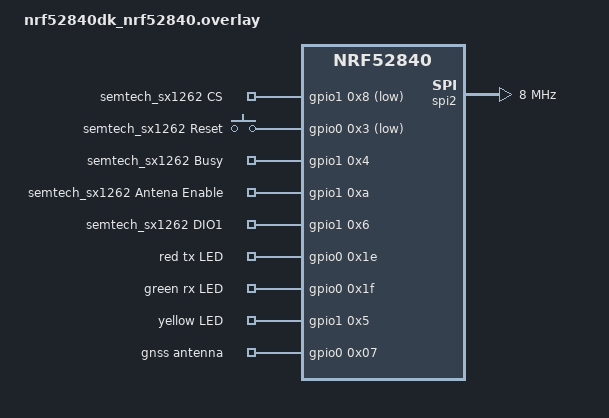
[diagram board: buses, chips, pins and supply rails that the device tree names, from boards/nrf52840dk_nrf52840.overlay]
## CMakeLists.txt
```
#
# Copyright (c) 2022 Nordic Semiconductor ASA
#
# SPDX-License-Identifier: LicenseRef-Nordic-5-Clause
#

cmake_minimum_required(VERSION 3.20.0)

include(../common/bootloader_version.cmake)

set(mcuboot_KCONFIG_ROOT $ENV{ZEPHYR_BASE}/../sidewalk/samples/template_subghz/child_image/mcuboot/Kconfig.root)
set(hci_rpmsg_KCONFIG_ROOT ${CMAKE_CURRENT_SOURCE_DIR}/child_image/hci_rpmsg/Kconfig.root)

find_package(Zephyr REQUIRED HINTS $ENV{ZEPHYR_BASE})
project(sidewalk_template_subghz)

zephyr_include_directories(include)

target_sources(app PRIVATE
  src/main.c
  src/application_thread.c
  src/board_events.c
  src/sidewalk_callbacks.c
  src/gnss.c
  src/wifi.c
  src/almanac_update.c
  src/fragment.c
  
)

if(DEFINED GNSS_DEBUG)
	zephyr_compile_definitions(GNSS_DEBUG)
endif()

if(DEFINED ALMANAC_UPDATE)
	zephyr_compile_definitions(ALMANAC_UPDATE)
endif()

if(DEFINED LR11xx)
	zephyr_compile_definitions(LR11xx)
endif()
```

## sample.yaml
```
sample:
  name: Sidewalk application template
  description: Sample implementing Amazon Sidewalk End Device
tests:
  sample.sidewalk.template.lora:
    build_only: true
    platform_allow: nrf52840dk_nrf52840 nrf5340dk_nrf5340_cpuapp
    integration_platforms:
      - nrf52840dk_nrf52840
      - nrf5340dk_nrf5340_cpuapp
    tags: Sidewalk

  sample.sidewalk.template.lora.cli:
    build_only: true
    platform_allow: nrf52840dk_nrf52840 nrf5340dk_nrf5340_cpuapp
    extra_args: CONFIG_SIDEWALK_CLI=y
    integration_platforms:
      - nrf52840dk_nrf52840
      - nrf5340dk_nrf5340_cpuapp
    tags: Sidewalk_cli

  sample.sidewalk.template.lr1110.cli:
    build_only: true
    platform_allow: nrf52840dk_nrf52840
    extra_args: CONFIG_LR1110_CLI=y
    integration_platforms:
      - nrf52840dk_nrf52840
    tags: LR1110_cli

  sample.sidewalk.template.lora.release:
    build_only: true
    platform_allow: nrf52840dk_nrf52840 nrf5340dk_nrf5340_cpuapp
    extra_args: CONF_FILE=prj_release.conf
    integration_platforms:
      - nrf52840dk_nrf52840
      - nrf5340dk_nrf5340_cpuapp
    tags: Sidewalk

  sample.sidewalk.template.fsk:
    build_only: true
    platform_allow: nrf52840dk_nrf52840 nrf5340dk_nrf5340_cpuapp
    extra_args: OVERLAY_CONFIG=fsk.conf
    integration_platforms:
      - nrf52840dk_nrf52840
      - nrf5340dk_nrf5340_cpuapp
    tags: Sidewalk

  sample.sidewalk.template.fsk.cli:
    build_only: true
    platform_allow: nrf52840dk_nrf52840 nrf5340dk_nrf5340_cpuapp
    extra_args: OVERLAY_CONFIG=fsk.conf CONFIG_SIDEWALK_CLI=y
    integration_platforms:
      - nrf52840dk_nrf52840
      - nrf5340dk_nrf5340_cpuapp
    tags: Sidewalk_cli

  sample.sidewalk.template.fsk.release:
    build_only: true
    platform_allow: nrf52840dk_nrf52840 nrf5340dk_nrf5340_cpuapp
    extra_args: OVERLAY_CONFIG=fsk.conf CONF_FILE=prj_release.conf
    integration_platforms:
      - nrf52840dk_nrf52840
      - nrf5340dk_nrf5340_cpuapp
    tags: Sidewalk
```

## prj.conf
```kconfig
#
# Copyright (c) 2022 Nordic Semiconductor ASA
#
# SPDX-License-Identifier: LicenseRef-Nordic-5-Clause
#

# Sidewalk
CONFIG_SIDEWALK=y
CONFIG_SIDEWALK_LINK_MASK_LORA=y

# Logs
CONFIG_SIDEWALK_LOG_LEVEL_DBG=y
CONFIG_NVS_LOG_LEVEL_DBG=y
CONFIG_LOG_PRINTK=y

# Buttons and LEDs
CONFIG_GPIO=y
CONFIG_DK_LIBRARY=y

# Bluetooth
CONFIG_BT_DEVICE_NAME="Sid template"

# Debug
CONFIG_RESET_ON_FATAL_ERROR=n

# Power Management
CONFIG_PM_DEVICE=y

# This sample do not require DFU, disable it
# CONFIG_SIDEWALK_DFU=n
```

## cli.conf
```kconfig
#
# Copyright (c) 2022 Nordic Semiconductor ASA
#
# SPDX-License-Identifier: LicenseRef-Nordic-5-Clause
#

CONFIG_SIDEWALK_CLI=y

CONFIG_LR1110_CLI=y

CONFIG_SIDEWALK_LOG_LEVEL_DBG=y

CONFIG_SIDEWALK_LOG_LEVEL_INF=y

CONFIG_NEWLIB_LIBC=y
CONFIG_NEWLIB_LIBC_FLOAT_SCANF=y
```

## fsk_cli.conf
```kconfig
#
# Copyright (c) 2022 Nordic Semiconductor ASA
#
# SPDX-License-Identifier: LicenseRef-Nordic-5-Clause
#

CONFIG_SIDEWALK_LINK_MASK_FSK=y

CONFIG_HW_CC3XX=y
CONFIG_PSA_CRYPTO_DRIVER_CC3XX=y
CONFIG_MBEDTLS_HEAP_SIZE=1024

CONFIG_SPIN_VALIDATE=n

CONFIG_SIDEWALK_CLI=y
CONFIG_LR1110_CLI=y
CONFIG_NEWLIB_LIBC_FLOAT_SCANF=y
```

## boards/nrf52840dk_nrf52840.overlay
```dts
/*
 * Copyright (c) 2022 Nordic Semiconductor ASA
 *
 * SPDX-License-Identifier: LicenseRef-Nordic-5-Clause
 */

&spi3 {
	status = "disabled";
};

sid_semtech: &spi2 {
	compatible = "nordic,nrf-spim";
	status = "okay";
	pinctrl-0 = <&spi2_default>;
	pinctrl-1 = <&spi2_sleep>;
	pinctrl-names = "default", "sleep";
	clock-frequency = <DT_FREQ_M(8)>;
};

&spi2_default {
	group1 {
		psels = <NRF_PSEL(SPIM_SCK, 1, 15)>,
			<NRF_PSEL(SPIM_MISO, 1, 14)>,
			<NRF_PSEL(SPIM_MOSI, 1, 13)>;
	};
};

&spi2_sleep {
	group1 {
		psels = <NRF_PSEL(SPIM_SCK, 1, 15)>,
			<NRF_PSEL(SPIM_MISO, 1, 14)>,
			<NRF_PSEL(SPIM_MOSI, 1, 13)>;
		low-power-enable;
	};
};

/ {
	semtech_sx1262_gpios{
 		compatible = "gpio-keys";
		semtech_sx1262_cs: cs {
			gpios = <&gpio1 0x8 GPIO_ACTIVE_LOW>;
			label = "semtech_sx1262 CS";
		};
 		semtech_sx1262_reset_gpios: reset {
			gpios = <&gpio0 0x3 GPIO_ACTIVE_LOW>;
			label = "semtech_sx1262 Reset";
		};
		semtech_sx1262_busy_gpios: busy {
			gpios = <&gpio1 0x4 GPIO_ACTIVE_HIGH>;
			label = "semtech_sx1262 Busy";
		};
		semtech_sx1262_antenna_enable_gpios: antena_enable {
			gpios = <&gpio1 0xa GPIO_ACTIVE_HIGH>;
			label = "semtech_sx1262 Antena Enable";
		};
		semtech_sx1262_dio1_gpios: dio1 {
			gpios = <&gpio1 0x6 GPIO_ACTIVE_HIGH>;
			label = "semtech_sx1262 DIO1";
		};
		radio_led_tx: led_tx {
			gpios = <&gpio0 0x1e GPIO_ACTIVE_HIGH>;
			label = "red tx LED";
		};
		radio_led_rx: led_rx {
			gpios = <&gpio0 0x1f GPIO_ACTIVE_HIGH>;
			label = "green rx LED";
		};
        radio_led_sniff: led_sniff {
            gpios = <&gpio1 0x5 GPIO_ACTIVE_HIGH>;
            label = "yellow LED";
        };
        radio_gnss_lna: gnss_lna {
            gpios = <&gpio0 0x07 GPIO_ACTIVE_HIGH>;
            label = "gnss antenna";
        };
 	};

	chosen {
		nordic,pm-ext-flash = &mx25r64;
	};
};
```

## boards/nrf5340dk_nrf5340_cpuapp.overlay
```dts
/*
 * Copyright (c) 2023 Nordic Semiconductor ASA
 *
 * SPDX-License-Identifier: LicenseRef-Nordic-5-Clause
 */

#include <zephyr/dt-bindings/ipc_service/static_vrings.h>

&ipc0 {
    zephyr,priority = <0 PRIO_COOP>;
};

 sid_semtech: &spi4 {
	compatible = "nordic,nrf-spim";
	status = "okay";
	pinctrl-0 = <&spi4_default>;
	pinctrl-1 = <&spi4_sleep>;
	pinctrl-names = "default", "sleep";
	clock-frequency = <DT_FREQ_M(8)>;
};

/{
	semtech_sx1262_gpios{
		compatible = "gpio-keys";
	   semtech_sx1262_cs: cs {
		   gpios = <&gpio1 0x9 GPIO_ACTIVE_LOW>;
		   label = "semtech_sx1262 CS";
	   };
		semtech_sx1262_reset_gpios: reset {
		   gpios = <&gpio0 0x4 GPIO_ACTIVE_LOW>;
		   label = "semtech_sx1262 Reset";
	   };
	   semtech_sx1262_busy_gpios: busy {
		   gpios = <&gpio1 0x5 GPIO_ACTIVE_HIGH>;
		   label = "semtech_sx1262 Busy";
	   };
	   semtech_sx1262_antenna_enable_gpios: antenna {
		   gpios = <&gpio0 0x07 GPIO_ACTIVE_HIGH>;
		   label = "semtech_sx1262 Antenna disabled";
	   };
      semtech_sx1262_redled_gpios: red_led {
		   gpios = <&gpio0 0x19 GPIO_ACTIVE_HIGH>;
		   label = "semtech_sx1262 Red LED";
	   };
      semtech_sx1262_xxxled_gpios: xxx_led {
		   gpios = <&gpio0 0x1A GPIO_ACTIVE_HIGH>;
		   label = "semtech_sx1262 xxx LED";
	   };
      semtech_sx1262_yyyled_gpios: yyy_led {
		   gpios = <&gpio1 0x6 GPIO_ACTIVE_HIGH>;
		   label = "semtech_sx1262 yyy LED";
	   };
	   semtech_sx1262_dio1_gpios: dio1 {
		   gpios = <&gpio1 0x7 GPIO_ACTIVE_HIGH>;
		   label = "semtech_sx1262 DIO1";
	   };
      radio_gnss_lna: gnss_lna {
            gpios = <&gpio0 0x07 GPIO_ACTIVE_HIGH>;
            label = "gnss antenna";
      };
	};

	chosen {
		nordic,pm-ext-flash = &mx25r64;
	};

   aliases {
      looptimerled = &semtech_sx1262_redled_gpios;
      locationreadyled = &semtech_sx1262_xxxled_gpios;
      uplinkled = &semtech_sx1262_yyyled_gpios;
   };
};

/* Disable unused peripherals to reduce power consumption */
&adc {
	status = "disabled";
};
&i2c1 {
	status = "disabled";
};
&pwm0 {
	status = "disabled";
};
&spi2 {
	status = "disabled";
};
&usbd {
	status = "disabled";
};
```

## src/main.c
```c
/*
 * Copyright (c) 2023 Nordic Semiconductor ASA
 *
 * SPDX-License-Identifier: LicenseRef-Nordic-5-Clause
 */

#include <sid_api.h>
#include <sid_error.h>
#include <sid_pal_assert_ifc.h>
#include <app_ble_config.h>
#include <app_subGHz_config.h>

#include <stdbool.h>
#include <zephyr/kernel.h>
#include <zephyr/logging/log.h>
#include <zephyr/settings/settings.h>

#include <settings_utils.h>
#include <dk_buttons_and_leds.h>
#include <sidewalk_version.h>
#include <nordic_dfu.h>
#if defined(CONFIG_BOOTLOADER_MCUBOOT)
#include <zephyr/dfu/mcuboot.h>
#endif
#if defined(CONFIG_GPIO)
#include <state_notifier_gpio_backend.h>
#endif
#if defined(CONFIG_LOG)
#include <state_notifier_log_backend.h>
#endif

#include <pal_init.h>
#include <buttons.h>
#include <application_thread.h>
#include <sidewalk_callbacks.h>

#if defined(CONFIG_NORDIC_QSPI_NOR)
#include <zephyr/device.h>
#include <zephyr/pm/device.h>

#define EXTERNAL_FLASH DT_CHOSEN(nordic_pm_ext_flash)
#endif

LOG_MODULE_REGISTER(main, CONFIG_SIDEWALK_LOG_LEVEL);

static void scan_timer_cb(struct k_timer *);
K_TIMER_DEFINE(scan_timer, scan_timer_cb, NULL);

static app_ctx_t app_context;
void *gnss_scan_done_context = &app_context;
void *wifi_scan_done_context = &app_context;

static void scan_timer_cb(struct k_timer *timer_id)
{
	// app_event_send(EVENT_GNSS_SCAN_START);
   // @todo add routine task, such as sidewalk report
}

unsigned gnss_scan_timer_get()
{
	return k_ticks_to_ms_floor32(scan_timer.period.ticks) / MSEC_PER_SEC;
}

int gnss_scan_timer_set(unsigned sec)
{
	if (sec == 0) {
		k_timer_stop(&scan_timer);
		LOG_WRN("timer stopped doing NOTHING");
	} else {
      LOG_WRN("timer started doing NOTHING");
		k_timer_start(&scan_timer, Z_TIMEOUT_NO_WAIT, K_SECONDS(sec));
	}
	return 0;
}

static void button_handler(uint32_t event)
{
	app_event_send((app_event_t)event);
}

static sid_error_t app_buttons_init(btn_handler_t handler)
{
	// button_set_action_long_press(DK_BTN1, handler, BUTTON_EVENT_FACTORY_RESET);
   // button_set_action_short_press(DK_BTN2, handler, BUTTON_EVENT_GET_DEVICE_PROFILE);
   // button_set_action_long_press(DK_BTN2, handler, BUTTON_EVENT_SET_DEVICE_PROFILE);
   button_set_action_short_press(DK_BTN1, handler, EVENT_TOGGLE_SID_PROTOCOL_CUSTOM);
   button_set_action_long_press(DK_BTN1, handler, BUTTON_EVENT_SET_DEVICE_PROFILE);
   button_set_action_short_press(DK_BTN2, handler, EVENT_TOGGLE_WIFI_SCAN_CUSTOM);
   button_set_action_long_press(DK_BTN2, handler, BUTTON_EVENT_GET_DEVICE_PROFILE);
   button_set_action_short_press(DK_BTN3, handler, EVENT_TOGGLE_GNSS_SCAN_CUSTOM);
   button_set_action_long_press(DK_BTN3, handler, EVENT_TOGGLE_GNSS_WIFI_SCAN_CUSTOM);
   button_set_action_short_press(DK_BTN4, handler, EVENT_TOGGLE_SID_START_CUSTOM);
	// button_set_action(DK_BTN3, handler, BUTTON_EVENT_SEND_HELLO);
#if defined(CONFIG_SIDEWALK_DFU_SERVICE_BLE)
	// button_set_action_long_press(DK_BTN4, handler, BUTTON_EVENT_NORDIC_DFU);
#endif

	return buttons_init() ? SID_ERROR_GENERIC : SID_ERROR_NONE;
}

static void app_setup(void)
{
	if (app_buttons_init(button_handler)) {
		LOG_ERR("Failed to initialze buttons.");
		SID_PAL_ASSERT(false);
	}

	if (dk_leds_init()) {
		LOG_ERR("Failed to initialze LEDs.");
		SID_PAL_ASSERT(false);
	}
#if defined(CONFIG_GPIO)
	state_watch_init_gpio(&global_state_notifier);
#endif
#if defined(CONFIG_LOG)
	state_watch_init_log(&global_state_notifier);
#endif

	if (sidewalk_callbacks_set(&app_context, &app_context.event_callbacks)) {
		LOG_ERR("Failed to set sidewalk callbacks");
		SID_PAL_ASSERT(false);
	}

	app_context.config = (struct sid_config){
		.link_mask = BUILT_IN_LM,
		.time_sync_periodicity_seconds = 7200,
		.callbacks = &app_context.event_callbacks,
		.link_config = app_get_ble_config(),
		.sub_ghz_link_config = app_get_sub_ghz_config(),
	};

#if defined(CONFIG_BOOTLOADER_MCUBOOT)
	if (!boot_is_img_confirmed()) {
		int ret = boot_write_img_confirmed();

		if (ret) {
			LOG_ERR("Couldn't confirm image: %d", ret);
		} else {
			LOG_INF("Marked image as OK");
		}
	}
#endif

#if defined(CONFIG_NORDIC_QSPI_NOR)
	const struct device *const qspi_dev = DEVICE_DT_GET(EXTERNAL_FLASH);

	if (device_is_ready(qspi_dev)) {
		pm_device_action_run(qspi_dev, PM_DEVICE_ACTION_SUSPEND);
	}
#endif

	app_context.auto_scan_interval = DEFAULT_AUTO_SCAN_INTERVAL;
	app_context.frag.mtu = 0;
}

int main(void)
{
	PRINT_SIDEWALK_VERSION();

	switch (application_to_start()) {
	case SIDEWALK_APPLICATION: {
		app_setup();
		if (app_thread_init(&app_context)) {
			LOG_ERR("Failed to start Sidewalk thread");
		}
		break;
	};
#if defined(CONFIG_SIDEWALK_DFU_SERVICE_BLE)
	case DFU_APPLICATION: {
		const int ret = nordic_dfu_ble_start();
		LOG_INF("DFU service started, return value %d", ret);
		break;
	}
#endif
	default:
		LOG_ERR("Unknown application to start.");
	}

	return 0;
}
```

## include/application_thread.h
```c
/*
 * Copyright (c) 2023 Nordic Semiconductor ASA
 *
 * SPDX-License-Identifier: LicenseRef-Nordic-5-Clause
 */

#ifndef APPLICATION_THREAD_H
#define APPLICATION_THREAD_H

#include <sid_api.h>
#include "fragment.h"

#ifdef CONFIG_SIDEWALK_LINK_MASK_BLE
#define BUILT_IN_LM (uint32_t)(SID_LINK_TYPE_1)
#elif CONFIG_SIDEWALK_LINK_MASK_FSK
#define BUILT_IN_LM (uint32_t)(SID_LINK_TYPE_2)
#elif CONFIG_SIDEWALK_LINK_MASK_LORA
#define BUILT_IN_LM (uint32_t)(SID_LINK_TYPE_3)
#else
#error "Not defined Sidewalk link mask!!"
#endif

/**
 * @brief Support custom code for multiple link mask
 *
 * @todo try multiple link mask
 */
#define CUSTOM_CODE

#if defined(CUSTOM_CODE)
#define OPT_LINK_BLE 1
#define OPT_LINK_FSK 2
#define OPT_LINK_LORA 3
#define OPT_LINK_LORA_BLE 4
#define OPT_LINK_FSK_BLE 5
#endif /* CUSTOM_CODE */

#define NB_MAX_SV		8	/* GNSS */
#define DEFAULT_AUTO_SCAN_INTERVAL		30		/* seconds */


#define FRAGMENT_TYPE_GNSS         0	// to cloud port 198
#define FRAGMENT_TYPE_WIFI         1	// to cloud port 197
#define FRAGMENT_TYPE_MODEM_MSG    2	// to cloud port 199
#define FRAGMENT_TYPE_GNSS_NG      3	// to cloud port 192

typedef struct application_context {
	struct sid_event_callbacks event_callbacks;
	struct sid_config config;
	struct sid_handle *handle;
	bool connection_request;
	unsigned auto_scan_interval;
	fragment_t frag;
} app_ctx_t;

typedef enum application_events {
	SIDEWALK_EVENT,

	BUTTON_EVENT_SEND_HELLO,
	BUTTON_EVENT_SET_BATTERY_LEVEL,
	BUTTON_EVENT_FACTORY_RESET,
	BUTTON_EVENT_GET_DEVICE_PROFILE,
	BUTTON_EVENT_SET_DEVICE_PROFILE,
#if defined(CONFIG_SIDEWALK_DFU)
	BUTTON_EVENT_NORDIC_DFU,
#endif
	EVENT_GNSS_SCAN_START,
	EVENT_GNSS_SCAN_SEND,
   EVENT_WIFI_SCAN_START,
   EVENT_WIFI_SCAN_SEND,
   EVENT_TOGGLE_SID_START_CUSTOM,
   EVENT_TOGGLE_SID_PROTOCOL_CUSTOM,
   EVENT_TOGGLE_GNSS_SCAN_CUSTOM,
   EVENT_TOGGLE_WIFI_SCAN_CUSTOM,
   EVENT_TOGGLE_GNSS_WIFI_SCAN_CUSTOM
} app_event_t;

/**
 * @brief Send Event to application thread
 *
 * @param event event to send
 */
void app_event_send(app_event_t event);

/**
 * @brief Initialize and start application thread
 *
 * @param ctx application context
 *
 * @return SID_ERROR_NULL_POINTER in case of invalid ctx
 */
sid_error_t app_thread_init(app_ctx_t *ctx);

int gnss_scan_timer_set(unsigned sec);

void start_gnss_scan(app_ctx_t *app_ctx);

int scan_wifi(app_ctx_t *app_ctx);



#endif /* APPLICATION_THREAD_H */
```

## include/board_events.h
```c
/*
 * Copyright (c) 2023 Nordic Semiconductor ASA
 *
 * SPDX-License-Identifier: LicenseRef-Nordic-5-Clause
 */

#ifndef BOARD_EVENTS_H
#define BOARD_EVENTS_H

#include <application_thread.h>

/**
 * @brief Application handler for sending hello message
 *
 * @param application_ctx
 */
void button_event_send_hello(app_ctx_t *application_ctx);

/**
 * @brief Application handler for sending battery level
 *
 * @param application_ctx
 */
void button_event_set_battery(app_ctx_t *application_ctx);

/**
 * @brief Application handler for entering in DFU mode
 *
 * @param application_ctx
 */
void button_event_DFU(app_ctx_t *application_ctx);

/**
 * @brief Applicaiton handler for requesting factory reset
 *
 * @param application_ctx
 */
void button_event_factory_reset(app_ctx_t *application_ctx);

/**
 * @brief Application handler for reading profile
 *
 * @param application_ctx
 */
void button_event_get_profile(app_ctx_t *application_ctx);

/**
 * @brief Application handler for setting profile
 *
 * @param application_ctx
 */
void button_event_set_ptofile(app_ctx_t *application_ctx);

/**
 * @brief Manual start and stop of sidewalk
 *
 * @note Custom function added
 *
 * @param application_ctx
 */
void button_stop_sidewalk_custom (app_ctx_t *application_ctx);
void button_start_sidewalk_custom (app_ctx_t *application_ctx);
void change_protocol_sidewalk_custom (app_ctx_t *application_ctx);
int gnss_scan_timer_custom_set(unsigned sec);
int gnss_scan_timer_custom_wifi_gnss_set(unsigned sec);

#endif /* BOARD_EVENTS_H */
```

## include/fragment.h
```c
/*!
 * @file      main.c
 *
 * @brief     packet fragmentation over sidewalk
 *
 * The Clear BSD License
 * Copyright Semtech Corporation 2022. All rights reserved.
 *
 * Redistribution and use in source and binary forms, with or without
 * modification, are permitted (subject to the limitations in the disclaimer
 * below) provided that the following conditions are met:
 *     * Redistributions of source code must retain the above copyright
 *       notice, this list of conditions and the following disclaimer.
 *     * Redistributions in binary form must reproduce the above copyright
 *       notice, this list of conditions and the following disclaimer in the
 *       documentation and/or other materials provided with the distribution.
 *     * Neither the name of the Semtech corporation nor the
 *       names of its contributors may be used to endorse or promote products
 *       derived from this software without specific prior written permission.
 *
 * NO EXPRESS OR IMPLIED LICENSES TO ANY PARTY'S PATENT RIGHTS ARE GRANTED BY
 * THIS LICENSE. THIS SOFTWARE IS PROVIDED BY THE COPYRIGHT HOLDERS AND
 * CONTRIBUTORS "AS IS" AND ANY EXPRESS OR IMPLIED WARRANTIES, INCLUDING, BUT
 * NOT LIMITED TO, THE IMPLIED WARRANTIES OF MERCHANTABILITY AND FITNESS FOR A
 * PARTICULAR PURPOSE ARE DISCLAIMED. IN NO EVENT SHALL SEMTECH CORPORATION BE
 * LIABLE FOR ANY DIRECT, INDIRECT, INCIDENTAL, SPECIAL, EXEMPLARY, OR
 * CONSEQUENTIAL DAMAGES (INCLUDING, BUT NOT LIMITED TO, PROCUREMENT OF
 * SUBSTITUTE GOODS OR SERVICES; LOSS OF USE, DATA, OR PROFITS; OR BUSINESS
 * INTERRUPTION) HOWEVER CAUSED AND ON ANY THEORY OF LIABILITY, WHETHER IN
 * CONTRACT, STRICT LIABILITY, OR TORT (INCLUDING NEGLIGENCE OR OTHERWISE)
 * ARISING IN ANY WAY OUT OF THE USE OF THIS SOFTWARE, EVEN IF ADVISED OF THE
 * POSSIBILITY OF SUCH DAMAGE.
 */

#ifndef FRAGMENT_H
#define FRAGMENT_H

typedef struct {
	uint8_t index;
	uint8_t nbytes_sent_this_fragment;
	uint8_t current_fragment;
	uint8_t total_fragments;
	uint8_t total_bytes;
	uint8_t num_bytes_sending;
	size_t mtu;
	uint8_t frag_type;
	const uint8_t *buffer;
} fragment_t;

void send_scan_result(void *app_ctx);

void fragment_msg_sent(void *ctx);

void fragment_send_error(void *context);

#endif /* FRAGMENT_H */
```

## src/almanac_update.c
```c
/*!
 * @file      alamanac_update.c
 *
 * @brief     full almanac update of LR11xx
 *
 * The Clear BSD License
 * Copyright Semtech Corporation 2022. All rights reserved.
 *
 * Redistribution and use in source and binary forms, with or without
 * modification, are permitted (subject to the limitations in the disclaimer
 * below) provided that the following conditions are met:
 *     * Redistributions of source code must retain the above copyright
 *       notice, this list of conditions and the following disclaimer.
 *     * Redistributions in binary form must reproduce the above copyright
 *       notice, this list of conditions and the following disclaimer in the
 *       documentation and/or other materials provided with the distribution.
 *     * Neither the name of the Semtech corporation nor the
 *       names of its contributors may be used to endorse or promote products
 *       derived from this software without specific prior written permission.
 *
 * NO EXPRESS OR IMPLIED LICENSES TO ANY PARTY'S PATENT RIGHTS ARE GRANTED BY
 * THIS LICENSE. THIS SOFTWARE IS PROVIDED BY THE COPYRIGHT HOLDERS AND
 * CONTRIBUTORS "AS IS" AND ANY EXPRESS OR IMPLIED WARRANTIES, INCLUDING, BUT
 * NOT LIMITED TO, THE IMPLIED WARRANTIES OF MERCHANTABILITY AND FITNESS FOR A
 * PARTICULAR PURPOSE ARE DISCLAIMED. IN NO EVENT SHALL SEMTECH CORPORATION BE
 * LIABLE FOR ANY DIRECT, INDIRECT, INCIDENTAL, SPECIAL, EXEMPLARY, OR
 * CONSEQUENTIAL DAMAGES (INCLUDING, BUT NOT LIMITED TO, PROCUREMENT OF
 * SUBSTITUTE GOODS OR SERVICES; LOSS OF USE, DATA, OR PROFITS; OR BUSINESS
 * INTERRUPTION) HOWEVER CAUSED AND ON ANY THEORY OF LIABILITY, WHETHER IN
 * CONTRACT, STRICT LIABILITY, OR TORT (INCLUDING NEGLIGENCE OR OTHERWISE)
 * ARISING IN ANY WAY OUT OF THE USE OF THIS SOFTWARE, EVEN IF ADVISED OF THE
 * POSSIBILITY OF SUCH DAMAGE.
 */

#ifdef ALMANAC_UPDATE
#include <time.h>
#include <zephyr/logging/log.h>

#include <almanac_update.h>
#include <almanac.h> // generated by get_full_almanac.py

#include <lr11xx_hal.h>
#include "halo_lr11xx_radio.h"

#define OFFSET_BETWEEN_GPS_EPOCH_AND_UNIX_EPOCH 315964800

#define TIME_BUFFER_SIZE 80

LOG_MODULE_REGISTER(almanac, CONFIG_SIDEWALK_LOG_LEVEL);

static bool get_almanac_crc( const void* ral_context, uint32_t* almanac_crc )
{
    lr11xx_status_t                         err;
    lr11xx_gnss_context_status_bytestream_t context_status_bytestream;
    lr11xx_gnss_context_status_t            context_status;

    err = lr11xx_gnss_get_context_status( ral_context, context_status_bytestream );
    if( err != LR11XX_STATUS_OK )
    {
        LOG_ERR( "Failed to get gnss context status" );
        return false;
    }

    err = lr11xx_gnss_parse_context_status_buffer( context_status_bytestream, &context_status );
    if( err != LR11XX_STATUS_OK )
    {
        LOG_ERR( "Failed to parse gnss context status to get almanac status" );
        return false;
    }

    *almanac_crc = context_status.global_almanac_crc;

    return true;
}

static bool _almanac_update( const void* ral_context )
{
    uint32_t global_almanac_crc, local_almanac_crc;
    local_almanac_crc =
        ( full_almanac[6] << 24 ) + ( full_almanac[5] << 16 ) + ( full_almanac[4] << 8 ) + ( full_almanac[3] );

    if( get_almanac_crc( ral_context, &global_almanac_crc ) == false )
    {
        LOG_ERR( "Failed to get almanac CRC before update" );
        return false;
    }
    if( global_almanac_crc != local_almanac_crc )
    {
        LOG_INF( "Local almanac doesn't match LR11XX almanac -> start update" );

        /* Load almanac in flash */
        uint16_t almanac_idx = 0;
        while( almanac_idx < sizeof( full_almanac ) )
        {
            if( lr11xx_gnss_almanac_update( ral_context, full_almanac + almanac_idx, 1 ) != LR11XX_STATUS_OK )
            {
                LOG_ERR( "Failed to update almanac" );
                return false;
            }
            almanac_idx += LR11XX_GNSS_SINGLE_ALMANAC_WRITE_SIZE;
        }

        /* Check CRC again to confirm proper update */
        if( get_almanac_crc( ral_context, &global_almanac_crc ) == false )
        {
            LOG_ERR( "Failed to get almanac CRC after update" );
            return false;
        }
        if( global_almanac_crc != local_almanac_crc )
        {
            LOG_ERR( "Local almanac doesn't match LR11XX almanac -> update failed" );
            return false;
        }
        else
        {
            LOG_INF( "Almanac update succeeded" );
        }
    }
    else
    {
        LOG_INF( "Local almanac matches LR11XX almanac -> no update" );
    }

    return true;
}

int almanac_update()
{
    /* Convert raw almanac date to epoch time */
    uint16_t almanac_date_raw = ( uint16_t )( ( full_almanac[2] << 8 ) | full_almanac[1] );
    time_t   almanac_date = ( OFFSET_BETWEEN_GPS_EPOCH_AND_UNIX_EPOCH + 24 * 3600 * ( 2048 * 7 + almanac_date_raw ) );

    /* Convert epoch time to human readbale format */
    char             buf[TIME_BUFFER_SIZE];
    const struct tm* time = localtime( &almanac_date );
    strftime( buf, TIME_BUFFER_SIZE, "%a %Y-%m-%d %H:%M:%S %Z", time );
    LOG_INF( "Source almanac date: %s", buf );

	void* drv_ctx = lr11xx_get_drv_ctx();
	if (lr11xx_system_wakeup(drv_ctx) != LR11XX_STATUS_OK) {
		LOG_ERR("wakeup fail");
		return LR11XX_STATUS_ERROR;
	}

	uint16_t chip_almanac_age;
	lr11xx_status_t ret = lr11xx_gnss_get_almanac_age_for_satellite(drv_ctx, 0, &chip_almanac_age);
	if (ret != LR11XX_STATUS_OK) {
		LOG_ERR("lr1110_gnss_get_almanac_age_for_satellite() fail");
		return ret;
	}
	LOG_INF("chip_almanac_age 0x%x, header raw 0x%x", chip_almanac_age, almanac_date_raw);

	_almanac_update(drv_ctx);
	
	return 0;
}
#endif /* ALMANAC_UPDATE */
```

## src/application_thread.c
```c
/*
 * Copyright (c) 2023 Nordic Semiconductor ASA
 *
 * SPDX-License-Identifier: LicenseRef-Nordic-5-Clause
 */
#include <sid_api.h>
#include <sid_error.h>

#include <zephyr/kernel.h>
#include <zephyr/logging/log.h>

#include <board_events.h>
#include <pal_init.h>
#if defined(CONFIG_SIDEWALK_CLI)
#include <sid_shell.h>
#endif
#if defined(CONFIG_LR1110_CLI)
#include <lr1110_shell.h>
#endif

#include <application_thread.h>
#include <state_notifier.h>
#ifdef ALMANAC_UPDATE
#include <almanac_update.h>
#endif /* ALMANAC_UPDATE */

static void button_event_toggle_sid_start_custom(app_ctx_t *application_ctx);
static void button_event_toggle_gnss_scan_custom(app_ctx_t *application_ctx);
static void button_event_toggle_wifi_custom(app_ctx_t *application_ctx);
static void button_event_toggle_gnss_wifi_custom(app_ctx_t *application_ctx);

static struct k_thread application_thread;

K_THREAD_STACK_DEFINE(application_thread_stack, CONFIG_SIDEWALK_THREAD_STACK_SIZE);
K_MSGQ_DEFINE(application_thread_msgq, sizeof(app_event_t), CONFIG_SIDEWALK_THREAD_QUEUE_SIZE, 4);

LOG_MODULE_REGISTER(application, CONFIG_SIDEWALK_LOG_LEVEL);

static void sidewalk_app_entry(void *ctx, void *unused, void *unused2)
{
	ARG_UNUSED(unused);
	ARG_UNUSED(unused2);
	app_ctx_t *application_ctx = (app_ctx_t *)ctx;

	if (application_pal_init()) {
		LOG_ERR("Failed to initialze PAL layer for sidewalk applicaiton.");
		application_state_error(&global_state_notifier, true);
		return;
	}

	sid_error_t err = sid_init(&application_ctx->config, &application_ctx->handle);

	switch (err) {
	case SID_ERROR_NONE:
		break;
	case SID_ERROR_ALREADY_INITIALIZED:
		LOG_WRN("Sidewalk already initialized!");
		break;
	default:
		LOG_ERR("Unknown error (%d) during sidewalk initialization!", err);
		application_state_error(&global_state_notifier, true);
		return;
	}

#ifdef ALMANAC_UPDATE
	almanac_update();
#endif /* ALMANAC_UPDATE */

	err = sid_start(application_ctx->handle, BUILT_IN_LM);
	if (err) {
		LOG_ERR("Unknown error (%d) during sidewalk start!", err);
		application_state_error(&global_state_notifier, true);
		return;
	}
#if defined(CONFIG_SIDEWALK_CLI)
	CLI_init(application_ctx->handle, &application_ctx->config);
#endif
#if defined(CONFIG_LR1110_CLI)
	LR1110_CLI_init(application_ctx->handle);
#endif
	application_state_connected(&global_state_notifier, false);
	application_state_working(&global_state_notifier, true);
	while (true) {
		app_event_t event = SIDEWALK_EVENT;

		if (!k_msgq_get(&application_thread_msgq, &event, K_FOREVER)) {
			switch (event) {
			case SIDEWALK_EVENT:
				err = sid_process(application_ctx->handle);
				if (err) {
					LOG_WRN("sid_process returned %d", err);
				}
				break;
			case BUTTON_EVENT_SEND_HELLO:
				button_event_send_hello(application_ctx);
				break;
			case BUTTON_EVENT_SET_BATTERY_LEVEL:
				button_event_set_battery(application_ctx);
				break;
			case BUTTON_EVENT_FACTORY_RESET:
				button_event_factory_reset(application_ctx);
				break;
			case BUTTON_EVENT_GET_DEVICE_PROFILE:
				button_event_get_profile(application_ctx);
				break;
			case BUTTON_EVENT_SET_DEVICE_PROFILE:
				button_event_set_ptofile(application_ctx);
				break;
			case EVENT_GNSS_SCAN_START:
				start_gnss_scan(application_ctx);
            // button_event_toggle_gnss_scan_custom(application_ctx);
				break;
			case EVENT_GNSS_SCAN_SEND:
				send_scan_result(application_ctx);
				break;
         case EVENT_WIFI_SCAN_START:
            scan_wifi(application_ctx);
            // button_event_toggle_wifi_custom(application_ctx);
            break;
         case EVENT_WIFI_SCAN_SEND:
            send_scan_result(application_ctx);
            break;
         case EVENT_TOGGLE_SID_START_CUSTOM:
            button_event_toggle_sid_start_custom(application_ctx);
            break;
         case EVENT_TOGGLE_GNSS_SCAN_CUSTOM:
            button_event_toggle_gnss_scan_custom(application_ctx);
            break;
         case EVENT_TOGGLE_WIFI_SCAN_CUSTOM:
            button_event_toggle_wifi_custom(application_ctx);
            break;
         case EVENT_TOGGLE_SID_PROTOCOL_CUSTOM:
            change_protocol_sidewalk_custom(application_ctx);
            break;
         case EVENT_TOGGLE_GNSS_WIFI_SCAN_CUSTOM:
            button_event_toggle_gnss_wifi_custom(application_ctx);
            break;
#if defined(CONFIG_SIDEWALK_DFU_SERVICE_BLE)
			case BUTTON_EVENT_NORDIC_DFU:
				button_event_DFU(application_ctx);
				break;
#endif

			default:
				LOG_ERR("Invalid Event received!");
			}
		}
	}
	application_state_working(&global_state_notifier, false);
}

static void button_event_toggle_sid_start_custom(app_ctx_t *application_ctx)
{
   struct sid_status status = { .state = SID_STATE_NOT_READY };
	sid_error_t err;
   bool sidewalk_ready;

   err = sid_get_status(application_ctx->handle, &status);
	switch (err) {
      case SID_ERROR_NONE:
         break;
      case SID_ERROR_INVALID_ARGS:
         LOG_ERR("Sidewalk library is not initialzied!");
         return;
      default:
         LOG_ERR("Unknown error during sid_get_status() -> %d", err);
         return;
	}

	if (status.state != SID_STATE_READY &&
      status.state != SID_STATE_NOT_READY) {
		LOG_ERR("Sidewalk Status is invalid!, got %d",
			status.state);
		return;
	}

   if (status.state == SID_STATE_READY) {
      sidewalk_ready = true;
   } else {
      sidewalk_ready = false;
   }

   if (!sidewalk_ready) {
      LOG_INF("starting Sidewalk");
      button_start_sidewalk_custom(application_ctx);
   } else {
      LOG_INF("stopping Sidewalk");
      button_stop_sidewalk_custom(application_ctx);
   }
}

void button_event_toggle_gnss_scan_custom(app_ctx_t *application_ctx)
{
   struct sid_status status = { .state = SID_STATE_NOT_READY };
   sid_error_t err;
   static bool started = false;

   err = sid_get_status(application_ctx->handle, &status);
   switch (err) {
      case SID_ERROR_NONE:
         break;
      case SID_ERROR_INVALID_ARGS:
         LOG_ERR("Sidewalk library is not initialzied!");
         return;
      default:
         LOG_ERR("Unknown error during sid_get_status() -> %d", err);
         return;
   }

   if (status.state != SID_STATE_READY) {
      if (application_ctx->frag.total_fragments) {
         LOG_WRN("Removing previous fragments!");
         application_ctx->frag.total_fragments = 0;	// indicate done sending
			application_ctx->frag.current_fragment = 0;
      }
   }
   if ((SID_LINK_TYPE_1 != application_ctx->config.link_mask) && status.state != SID_STATE_READY) {
      LOG_ERR("Sidewalk Status is not ready!, got %d",
         status.state);
      if (application_ctx->frag.total_fragments) {
         LOG_WRN("Removing previous fragments!");
         application_ctx->frag.total_fragments = 0;	// indicate done sending
			application_ctx->frag.current_fragment = 0;
      }
      gnss_scan_timer_custom_set(0);
      started = false;
      return;
   } else if (SID_LINK_TYPE_1 == application_ctx->config.link_mask) {
      if (status.state != SID_STATE_READY) {
         bool next = !application_ctx->connection_request;
         LOG_INF("%s connection request", next ? "Set" : "Clear");
         sid_error_t ret = sid_ble_bcn_connection_request(application_ctx->handle, next);

         if (SID_ERROR_NONE == ret) {
            application_ctx->connection_request = next;
         } else {
            LOG_ERR("Connection request failed %d", ret);
         }
         gnss_scan_timer_custom_set(0);
         started = false;
         return;
      }
   }

   if (!started) {
      LOG_INF("starting GNSS scan");
      gnss_scan_timer_custom_set(30);
      started = true;
   } else {
      LOG_INF("stopping GNSS scan");
      gnss_scan_timer_custom_set(0);
      started = false;
   }
}


void button_event_toggle_gnss_wifi_custom(app_ctx_t *application_ctx)
{
   struct sid_status status = { .state = SID_STATE_NOT_READY };
   sid_error_t err;
   static bool started = false;

   err = sid_get_status(application_ctx->handle, &status);
   switch (err) {
      case SID_ERROR_NONE:
         break;
      case SID_ERROR_INVALID_ARGS:
         LOG_ERR("Sidewalk library is not initialzied!");
         return;
      default:
         LOG_ERR("Unknown error during sid_get_status() -> %d", err);
         return;
   }

   if (status.state != SID_STATE_READY) {
      if (application_ctx->frag.total_fragments) {
         LOG_WRN("Removing previous fragments!");
         application_ctx->frag.total_fragments = 0;	// indicate done sending
			application_ctx->frag.current_fragment = 0;
      }
   }
   if ((SID_LINK_TYPE_1 != application_ctx->config.link_mask) && status.state != SID_STATE_READY) {
      LOG_ERR("Sidewalk Status is not ready!, got %d",
         status.state);
      if (application_ctx->frag.total_fragments) {
         LOG_WRN("Removing previous fragments!");
         application_ctx->frag.total_fragments = 0;	// indicate done sending
			application_ctx->frag.current_fragment = 0;
      }
      gnss_scan_timer_custom_wifi_gnss_set(0);
      started = false;
      return;
   } else if (SID_LINK_TYPE_1 == application_ctx->config.link_mask) {
      if (status.state != SID_STATE_READY) {
         bool next = !application_ctx->connection_request;
         LOG_INF("%s connection request", next ? "Set" : "Clear");
         sid_error_t ret = sid_ble_bcn_connection_request(application_ctx->handle, next);

         if (SID_ERROR_NONE == ret) {
            application_ctx->connection_request = next;
         } else {
            LOG_ERR("Connection request failed %d", ret);
         }
         gnss_scan_timer_custom_wifi_gnss_set(0);
         started = false;
         return;
      }
   }

   if (!started) {
      LOG_INF("starting GNSS + wifi scan");
      gnss_scan_timer_custom_wifi_gnss_set(32);
      started = true;
   } else {
      LOG_INF("stopping GNSS + wifi scan");
      gnss_scan_timer_custom_wifi_gnss_set(0);
      started = false;
   }
}

void button_event_toggle_wifi_custom(app_ctx_t *application_ctx)
{
   struct sid_status status = { .state = SID_STATE_NOT_READY };
   sid_error_t err;

   err = sid_get_status(application_ctx->handle, &status);
   switch (err) {
      case SID_ERROR_NONE:
         break;
      case SID_ERROR_INVALID_ARGS:
         LOG_ERR("Sidewalk library is not initialzied!");
         return;
      default:
         LOG_ERR("Unknown error during sid_get_status() -> %d", err);
         return;
   }

   if (status.state != SID_STATE_READY) {
      if (application_ctx->frag.total_fragments) {
         LOG_WRN("Removing previous fragments!");
         application_ctx->frag.total_fragments = 0;	// indicate done sending
			application_ctx->frag.current_fragment = 0;
      }
   }
   if ((SID_LINK_TYPE_1 != application_ctx->config.link_mask) && (status.state != SID_STATE_READY)) {
      LOG_ERR("Sidewalk Status is not ready!, got %d",
         status.state);
      return;
   } else if (SID_LINK_TYPE_1 == application_ctx->config.link_mask) {
      if (status.state != SID_STATE_READY) {
         bool next = !application_ctx->connection_request;
         LOG_INF("%s connection request", next ? "Set" : "Clear");
         sid_error_t ret = sid_ble_bcn_connection_request(application_ctx->handle, next);

         if (SID_ERROR_NONE == ret) {
            application_ctx->connection_request = next;
         } else {
            LOG_ERR("Connection request failed %d", ret);
         }
         return;
      }
   }

   LOG_INF("starting Sending wifi");
   scan_wifi(application_ctx);
}

void app_event_send(app_event_t event)
{
	int ret = k_msgq_put(&application_thread_msgq, (void *)&event,
			     k_is_in_isr() ? K_NO_WAIT : K_FOREVER);

	if (ret) {
		LOG_ERR("Failed to send event to application thread. err: %d", ret);
	} else {
      LOG_INF("Sent event to application thread. event: %d", event);
   }
}

sid_error_t app_thread_init(app_ctx_t *ctx)
{
	if (!ctx) {
		return SID_ERROR_NULL_POINTER;
	}
	(void)k_thread_create(&application_thread, application_thread_stack,
			      K_THREAD_STACK_SIZEOF(application_thread_stack), sidewalk_app_entry,
			      ctx, NULL, NULL, CONFIG_SIDEWALK_THREAD_PRIORITY, 0, K_NO_WAIT);
	k_thread_name_set(&application_thread, "sidewalk_thread");
	return SID_ERROR_NONE;
}
```

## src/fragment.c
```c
/*!
 * @file      fragment.c
 *
 * @brief     packet fragmentation over sidewalk
 *
 * The Clear BSD License
 * Copyright Semtech Corporation 2022. All rights reserved.
 *
 * Redistribution and use in source and binary forms, with or without
 * modification, are permitted (subject to the limitations in the disclaimer
 * below) provided that the following conditions are met:
 *     * Redistributions of source code must retain the above copyright
 *       notice, this list of conditions and the following disclaimer.
 *     * Redistributions in binary form must reproduce the above copyright
 *       notice, this list of conditions and the following disclaimer in the
 *       documentation and/or other materials provided with the distribution.
 *     * Neither the name of the Semtech corporation nor the
 *       names of its contributors may be used to endorse or promote products
 *       derived from this software without specific prior written permission.
 *
 * NO EXPRESS OR IMPLIED LICENSES TO ANY PARTY'S PATENT RIGHTS ARE GRANTED BY
 * THIS LICENSE. THIS SOFTWARE IS PROVIDED BY THE COPYRIGHT HOLDERS AND
 * CONTRIBUTORS "AS IS" AND ANY EXPRESS OR IMPLIED WARRANTIES, INCLUDING, BUT
 * NOT LIMITED TO, THE IMPLIED WARRANTIES OF MERCHANTABILITY AND FITNESS FOR A
 * PARTICULAR PURPOSE ARE DISCLAIMED. IN NO EVENT SHALL SEMTECH CORPORATION BE
 * LIABLE FOR ANY DIRECT, INDIRECT, INCIDENTAL, SPECIAL, EXEMPLARY, OR
 * CONSEQUENTIAL DAMAGES (INCLUDING, BUT NOT LIMITED TO, PROCUREMENT OF
 * SUBSTITUTE GOODS OR SERVICES; LOSS OF USE, DATA, OR PROFITS; OR BUSINESS
 * INTERRUPTION) HOWEVER CAUSED AND ON ANY THEORY OF LIABILITY, WHETHER IN
 * CONTRACT, STRICT LIABILITY, OR TORT (INCLUDING NEGLIGENCE OR OTHERWISE)
 * ARISING IN ANY WAY OUT OF THE USE OF THIS SOFTWARE, EVEN IF ADVISED OF THE
 * POSSIBILITY OF SUCH DAMAGE.
 */

#include <application_thread.h>
#include <string.h>
#include <state_notifier.h>
#include <zephyr/logging/log.h>
#include <zephyr/drivers/gpio.h>

LOG_MODULE_REGISTER(fragment, CONFIG_SIDEWALK_LOG_LEVEL);

void send_scan_result(void *context)
{
	app_ctx_t *app_ctx = (app_ctx_t *)context;
	sid_error_t err;
	static struct sid_msg msg;
	static struct sid_msg_desc desc;
	static uint8_t dummy[258];
	uint8_t remaining = app_ctx->frag.total_bytes - app_ctx->frag.index;
	uint8_t this_length = remaining;
	uint8_t byte_per_fragment = app_ctx->frag.mtu - 1;

#ifdef GNSS_DEBUG
	LOG_INF("send_scan_result index:%d total:%d cur_frag:%d mtu=%d", app_ctx->frag.index, app_ctx->frag.total_bytes, app_ctx->frag.current_fragment, app_ctx->frag.mtu);
#endif /* GNSS_DEBUG */

   if (SID_LINK_TYPE_1 == app_ctx->config.link_mask) {
      struct sid_status _status = { .state = SID_STATE_NOT_READY };
      sid_error_t _err;
      bool break_loop = false;
      bool next;
      sid_error_t _ret;
      uint8_t max_retry = 8;
      if (app_ctx->connection_request) {
         app_ctx->connection_request = false;
      }
      do {
         if (max_retry == 0) {
            LOG_ERR("Failed to try more");
            return;
         }
         max_retry--;
         _err = sid_get_status(app_ctx->handle, &_status);
         switch (_err) {
            case SID_ERROR_NONE:
               break;
            case SID_ERROR_INVALID_ARGS:
               LOG_ERR("Sidewalk library is not initialzied!");
               break_loop = true;
               break;
            default:
               LOG_ERR("Unknown error during sid_get_status() -> %d", _err);
               break_loop = true;
               break;
         }
         if (break_loop) {
            break;
         }
         if (_status.state != SID_STATE_READY) {
            next = !app_ctx->connection_request;
            LOG_INF("%s connection request", next ? "Set" : "Clear");
            if (next) {
               _ret = sid_ble_bcn_connection_request(app_ctx->handle, next);
               if (SID_ERROR_NONE == _ret) {
                  app_ctx->connection_request = next;
               } else {
                  LOG_ERR("Connection request failed %d", _ret);
               }
            }
            k_sleep(K_SECONDS(2));
         }
      } while (_status.state != SID_STATE_READY);
   }

	if (this_length > byte_per_fragment)
		this_length = byte_per_fragment;

	app_ctx->frag.nbytes_sent_this_fragment = this_length;

	dummy[0] = app_ctx->frag.current_fragment & 7;
	dummy[0] |= (app_ctx->frag.total_fragments & 7) << 3;
	dummy[0] |= (app_ctx->frag.frag_type & 3) << 6;
	memcpy(dummy+1, app_ctx->frag.buffer + app_ctx->frag.index, this_length);

#ifdef GNSS_DEBUG
	LOG_HEXDUMP_INF(dummy, this_length+1, "fragment");
#endif /* GNSS_DEBUG */
	msg = (struct sid_msg){ .data = dummy, .size = this_length+1};
	desc = (struct sid_msg_desc){
		.type = SID_MSG_TYPE_NOTIFY,
		.link_type = SID_LINK_TYPE_ANY,
		.link_mode = SID_LINK_MODE_CLOUD,
	};

	err = sid_put_msg(app_ctx->handle, &msg, &desc);
	switch (err) {
	case SID_ERROR_NONE: {
		application_state_sending(&global_state_notifier, true);
		LOG_INF("queued data message id:%d", desc.id);
		break;
	}
	case SID_ERROR_TRY_AGAIN: {
		LOG_ERR("there is no space in the transmit queue, Try again.");
		break;
	}
	default: LOG_ERR("Unknown error returned from sid_put_msg() -> %d", err);
	}
}

// @todo move this to proper location.
#define UPLINK_PIN DT_ALIAS(uplinkled)
static const struct gpio_dt_spec uplinkLED = GPIO_DT_SPEC_GET(UPLINK_PIN, gpios);
static bool _once_fragment_msg_sent = false;
void fragment_msg_sent(void *context)
{
	app_ctx_t *app_ctx = (app_ctx_t *)context;

   // remove this later.
   if (_once_fragment_msg_sent == false) {
      int err = 1;
      if (!device_is_ready(uplinkLED.port)) {
         LOG_ERR("Didn't find ant device referred by the UPLINK_PIN");
      }
      err = gpio_pin_configure_dt(&uplinkLED, GPIO_OUTPUT);
      if (err) {
         LOG_ERR("Couldn't configure the UPLINK_PIN");
      }
      err = gpio_pin_set_dt(&uplinkLED, 1);
      if (err) {
         LOG_ERR("Couldn't set the UPLINK_PIN");
      } else {
         _once_fragment_msg_sent = true;
      }
   }

	if (app_ctx->frag.total_fragments > 0) {
		/* done sending gnss fragment */
		app_ctx->frag.index += app_ctx->frag.nbytes_sent_this_fragment;
		if (++app_ctx->frag.current_fragment < app_ctx->frag.total_fragments) {
			/* send next fragment */
			app_event_send(EVENT_GNSS_SCAN_SEND);
		} else {
			if (app_ctx->frag.index != app_ctx->frag.total_bytes)
				LOG_ERR("incorrect send completion count (%d %d)", app_ctx->frag.index, app_ctx->frag.total_bytes);
			else {
				LOG_INF("done sending fragments (%u %u)", app_ctx->frag.index, app_ctx->frag.total_bytes);
            // remove this later.
            if (_once_fragment_msg_sent == true){
               int err = 1;
               err = gpio_pin_toggle_dt(&uplinkLED);
               if (err) {
                  LOG_ERR("Couldn't toggle UPLINK LED");
               }
            }
         }
			app_ctx->frag.total_fragments = 0;	// indicate done sending
			app_ctx->frag.current_fragment = 0;
		}
	}
}

void fragment_send_error(void *context)
{
	app_ctx_t *app_ctx = (app_ctx_t *)context;

	if (app_ctx->frag.total_fragments > 0) {
		/* TODO: reproduce this failure and then implement sending retry */
		LOG_ERR("aborting fragment-send");
		app_ctx->frag.total_fragments = 0;	// indicate done sending
		app_ctx->frag.current_fragment = 0;
	}
}
```

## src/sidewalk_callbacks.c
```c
/*
 * Copyright (c) 2023 Nordic Semiconductor ASA
 *
 * SPDX-License-Identifier: LicenseRef-Nordic-5-Clause
 */

#include <sid_api.h>
#include <sid_error.h>
#include <sid_hal_reset_ifc.h>

#include <state_notifier.h>
#if defined(CONFIG_SIDEWALK_CLI)
#include <sid_shell.h>
#endif

#include <application_thread.h>

#include <zephyr/logging/log.h>

LOG_MODULE_REGISTER(callbacks, CONFIG_SIDEWALK_LOG_LEVEL);

static const uint8_t *status_name[] = { "ready", "not ready", "Error", "secure channel ready" };

static const uint8_t *link_mode_idx_name[] = { "ble", "fsk", "lora" };

#include <json_printer.h>
#include <sidTypes2Json.h>

#undef JSON_RAW_PRINT
#define JSON_RAW_PRINT(format, ...) LOG_RAW(format __VA_OPT__(, ) __VA_ARGS__)

static void on_sidewalk_event(bool in_isr, void *context)
{
	LOG_INF("on event, from %s, context %p", in_isr ? "ISR" : "App", context);
	app_event_send(SIDEWALK_EVENT);
}

static void on_sidewalk_msg_received(const struct sid_msg_desc *msg_desc, const struct sid_msg *msg,
				     void *context)
{
#ifdef CONFIG_SIDEWALK_CLI
	CLI_register_message_received(msg_desc->id);
#endif
	application_state_receiving(&global_state_notifier, true);
	application_state_receiving(&global_state_notifier, false);
	LOG_INF("received message(type: %d, link_mode: %d, id: %u size %u)", (int)msg_desc->type,
		(int)msg_desc->link_mode, msg_desc->id, msg->size);
	LOG_HEXDUMP_INF((uint8_t *)msg->data, msg->size, "Message data: ");
	printk(JSON_NEW_LINE(JSON_OBJ(JSON_NAME(
		"on_msg_received", JSON_OBJ(JSON_VAL_sid_msg_desc("sid_msg_desc", msg_desc, 1))))));
}

static void on_sidewalk_msg_sent(const struct sid_msg_desc *msg_desc, void *context)
{
	application_state_sending(&global_state_notifier, false);
#ifdef CONFIG_SIDEWALK_CLI
	CLI_register_message_send();
#endif
	LOG_INF("sent message(type: %d, id: %u)", (int)msg_desc->type, msg_desc->id);
	printk(JSON_NEW_LINE(JSON_OBJ(JSON_NAME(
		"on_msg_sent", JSON_OBJ(JSON_VAL_sid_msg_desc("sid_msg_desc", msg_desc, 0))))));

	fragment_msg_sent(context);
}

static void on_sidewalk_send_error(sid_error_t error, const struct sid_msg_desc *msg_desc,
				   void *context)
{
	application_state_sending(&global_state_notifier, false);
#ifdef CONFIG_SIDEWALK_CLI
	CLI_register_message_not_send();
#endif
	LOG_ERR("failed to send message(type: %d, id: %u), err:%d", (int)msg_desc->type,
		msg_desc->id, (int)error);
	printk(JSON_NEW_LINE(JSON_OBJ(JSON_NAME(
		"on_send_error",
		JSON_OBJ(JSON_LIST_2(JSON_VAL_sid_error_t("error", error),
				     JSON_VAL_sid_msg_desc("sid_msg_desc", msg_desc, 0)))))));

	fragment_send_error(context);
}

static void on_sidewalk_status_changed(const struct sid_status *status, void *context)
{
	LOG_INF("status changed: %s", status_name[status->state]);

	app_ctx_t *app_ctx = (app_ctx_t *)context;

#ifdef CONFIG_SIDEWALK_CLI
	CLI_register_sid_status(status);
#endif
	switch (status->state) {
	case SID_STATE_READY:
		application_state_connected(&global_state_notifier, true);
		sid_error_t err = sid_get_mtu(app_ctx->handle, status->detail.link_status_mask, &app_ctx->frag.mtu);
		if (err != SID_ERROR_NONE) {
			LOG_ERR("%d = sid_get_mtu()", err);
		} else {
			LOG_INF("mtu %u, scan interval %u", app_ctx->frag.mtu, app_ctx->auto_scan_interval);
		}
		gnss_scan_timer_set(app_ctx->auto_scan_interval);
		break;
	case SID_STATE_NOT_READY:
		application_state_connected(&global_state_notifier, false);
		gnss_scan_timer_set(0);
		break;
	case SID_STATE_ERROR:
		LOG_ERR("Sidewalk error: %d", (int)sid_get_error(app_ctx->handle));
		break;
	case SID_STATE_SECURE_CHANNEL_READY:
		break;
	}

	application_state_registered(&global_state_notifier,
				     status->detail.registration_status == SID_STATUS_REGISTERED);
	application_state_time_sync(&global_state_notifier,
				    status->detail.time_sync_status == SID_STATUS_TIME_SYNCED);
	application_state_link(&global_state_notifier, !!(status->detail.link_status_mask));

	LOG_INF("Device %sregistered, Time Sync %s, Link status: {BLE: %s, FSK: %s, LoRa: %s}",
		(SID_STATUS_REGISTERED == status->detail.registration_status) ? "Is " : "Un",
		(SID_STATUS_TIME_SYNCED == status->detail.time_sync_status) ? "Success" : "Fail",
		(status->detail.link_status_mask & SID_LINK_TYPE_1) ? "Up" : "Down",
		(status->detail.link_status_mask & SID_LINK_TYPE_2) ? "Up" : "Down",
		(status->detail.link_status_mask & SID_LINK_TYPE_3) ? "Up" : "Down");

	for (int i = 0; i < SID_LINK_TYPE_MAX_IDX; i++) {
		enum sid_link_mode mode =
			(enum sid_link_mode)status->detail.supported_link_modes[i];

		if (mode) {
			LOG_INF("Link mode on %s = {Cloud: %s, Mobile: %s}", link_mode_idx_name[i],
				(mode & SID_LINK_MODE_CLOUD) ? "True" : "False",
				(mode & SID_LINK_MODE_MOBILE) ? "True" : "False");
		}
	}
}

static void on_sidewalk_factory_reset(void *context)
{
	ARG_UNUSED(context);

	LOG_INF("factory reset notification received from sid api");
	if (sid_hal_reset(SID_HAL_RESET_NORMAL)) {
		LOG_WRN("Reboot type not supported");
	}
}

sid_error_t sidewalk_callbacks_set(void *context, struct sid_event_callbacks *callbacks)
{
	if (!callbacks) {
		return SID_ERROR_INVALID_ARGS;
	}
	callbacks->context = context;
	callbacks->on_event = on_sidewalk_event;
	callbacks->on_msg_received = on_sidewalk_msg_received; /* Called from sid_process() */
	callbacks->on_msg_sent = on_sidewalk_msg_sent; /* Called from sid_process() */
	callbacks->on_send_error = on_sidewalk_send_error; /* Called from sid_process() */
	callbacks->on_status_changed = on_sidewalk_status_changed; /* Called from sid_process() */
	callbacks->on_factory_reset = on_sidewalk_factory_reset; /* Called from sid_process() */

	return SID_ERROR_NONE;
}
```
